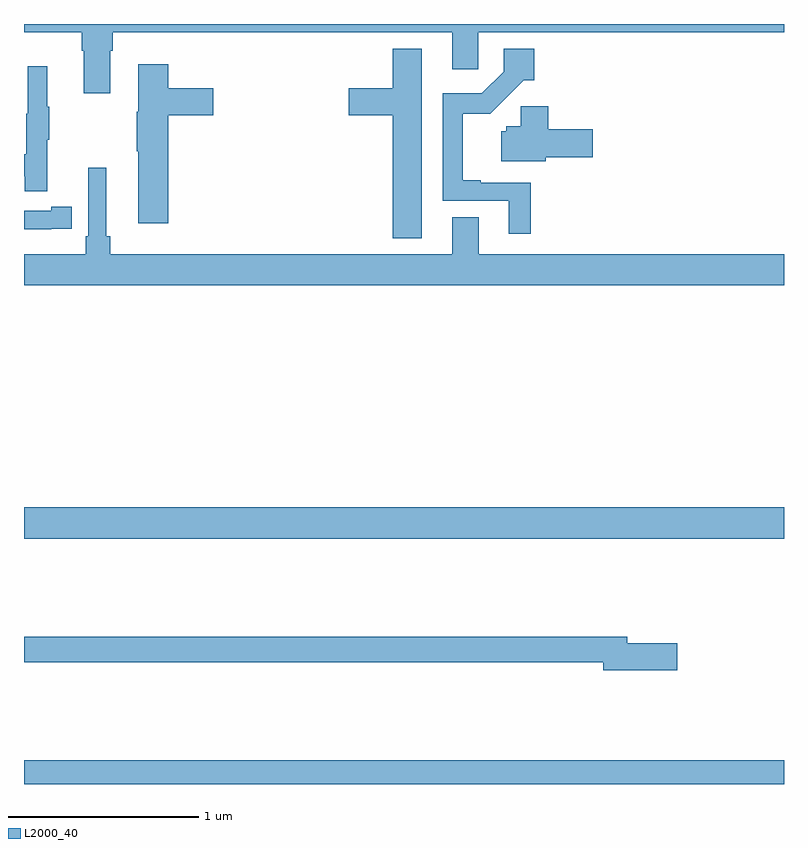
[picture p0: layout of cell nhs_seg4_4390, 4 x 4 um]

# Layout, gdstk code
import gdstk
lib = gdstk.Library(unit=1e-6, precision=1e-09)
def R(c, l, rs):  # rectangles x0, y0, x1, y1
    for r in rs: c.add(gdstk.rectangle(r[:2], r[2:], *l))
def P(c, l, *ps):  # polygons
    for p in ps: c.add(gdstk.Polygon(p, *l))
L2000_40 = (2000, 40)

nhs_seg4_4390 = lib.new_cell('nhs_seg4_4390')
R(nhs_seg4_4390, L2000_40, [(347,756.9,351,757.024), (347,758.192,351,758.356)])
P(nhs_seg4_4390, L2000_40, [(347.455,760.76),(347.468,760.76),(347.468,760.856),(349.253,760.856),(349.253,760.662),(349.392,760.662),(349.392,760.856),(351,760.856),(351,760.9),(347,760.9),(347,760.856),(347.303,760.856),(347.303,760.76),(347.315,760.76),(347.315,760.536),(347.455,760.536)],
  [(349.093,760.771),(348.941,760.771),(348.941,760.563),(348.708,760.563),(348.708,760.421),(348.941,760.421),(348.941,759.773),(349.093,759.773)],
  [(349.667,760.065),(349.405,760.065),(349.405,760.078),(349.309,760.078),(349.309,760.427),(349.453,760.427),(349.631,760.604),(349.685,760.604),(349.685,760.771),(349.524,760.771),(349.524,760.65),(349.41,760.536),(349.205,760.536),(349.205,759.969),(349.55,759.969),(349.55,759.795),(349.667,759.795)],
  [(347.759,760.421),(347.995,760.421),(347.995,760.563),(347.759,760.563),(347.759,760.687),(347.6,760.687),(347.6,760.437),(347.593,760.437),(347.593,760.231),(347.6,760.231),(347.6,759.852),(347.759,759.852)],
  [(347.123,760.291),(347.134,760.291),(347.134,760.465),(347.123,760.465),(347.123,760.678),(347.02,760.678),(347.02,760.428),(347.013,760.428),(347.013,760.214),(347,760.214),(347,760.098),(347.005,760.098),(347.005,760.02),(347.123,760.02)],
  [(349.747,760.199),(349.993,760.199),(349.993,760.346),(349.76,760.346),(349.76,760.467),(349.615,760.467),(349.615,760.362),(349.539,760.362),(349.539,760.335),(349.511,760.335),(349.511,760.178),(349.747,760.178)],
  [(351,759.688),(349.393,759.688),(349.393,759.883),(349.253,759.883),(349.253,759.688),(347.453,759.688),(347.453,759.784),(347.434,759.784),(347.434,760.144),(347.337,760.144),(347.337,759.784),(347.324,759.784),(347.324,759.688),(347,759.688),(347,759.524),(351,759.524)],
  [(347.144,759.822),(347.252,759.822),(347.252,759.938),(347.144,759.938),(347.144,759.918),(347,759.918),(347,759.821),(347.144,759.821)],
  [(350.437,757.64),(350.176,757.64),(350.176,757.676),(347,757.676),(347,757.54),(350.048,757.54),(350.048,757.498),(350.437,757.498)])

lib.write_gds('nhs_seg4_4390.gds')
